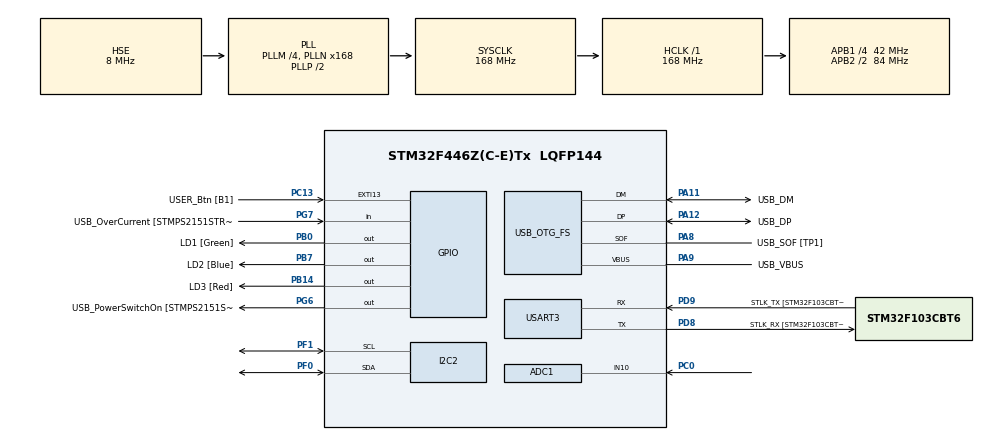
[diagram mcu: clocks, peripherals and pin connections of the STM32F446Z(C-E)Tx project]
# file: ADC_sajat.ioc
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ADC1.Channel-1\#ChannelRegularConversion=ADC_CHANNEL_10
ADC1.NbrOfConversionFlag=1
ADC1.Rank-1\#ChannelRegularConversion=1
ADC1.SamplingTime-1\#ChannelRegularConversion=ADC_SAMPLETIME_3CYCLES
ADC1.master=1
Mcu.Family=STM32F4
Mcu.Name=STM32F446Z(C-E)Tx
Mcu.Package=LQFP144
NVIC.ADC_IRQn=true\:0\:0\:false\:false\:true\:true\:true\:true
NVIC.PriorityGroup=NVIC_PRIORITYGROUP_4
PA10.GPIO_Label=USB_ID
PA10.Signal=USB_OTG_FS_ID
PA11.GPIO_Label=USB_DM
PA11.Mode=Device_Only
PA11.Signal=USB_OTG_FS_DM
PA12.GPIO_Label=USB_DP
PA12.Mode=Device_Only
PA12.Signal=USB_OTG_FS_DP
PA13.GPIO_Label=TMS
PA13.Mode=Serial_Wire
PA13.Signal=SYS_JTMS-SWDIO
PA14.GPIO_Label=TCK
PA14.Mode=Serial_Wire
PA14.Signal=SYS_JTCK-SWCLK
PA8.GPIO_Label=USB_SOF [TP1]
PA8.Mode=Activate_SOF_FS
PA8.Signal=USB_OTG_FS_SOF
PA9.GPIO_Label=USB_VBUS
PA9.Mode=Activate_VBUS
PA9.Signal=USB_OTG_FS_VBUS
PB0.GPIO_Label=LD1 [Green]
PB0.Signal=GPIO_Output
PB14.GPIO_Label=LD3 [Red]
PB14.Signal=GPIO_Output
PB7.GPIO_Label=LD2 [Blue]
PB7.Signal=GPIO_Output
PC0.Signal=ADCx_IN10
PC13.GPIO_Label=USER_Btn [B1]
PC13.Signal=GPXTI13
PC14-OSC32_IN.Mode=LSE-External-Oscillator
PC14-OSC32_IN.Signal=RCC_OSC32_IN
PC15-OSC32_OUT.Mode=LSE-External-Oscillator
PC15-OSC32_OUT.Signal=RCC_OSC32_OUT
PD8.GPIO_Label=STLK_RX [STM32F103CBT6_PA3]
PD8.Mode=Asynchronous
PD8.Signal=USART3_TX
PD9.GPIO_Label=STLK_TX [STM32F103CBT6_PA2]
PD9.Mode=Asynchronous
PD9.Signal=USART3_RX
PF0.Mode=I2C
PF0.Signal=I2C2_SDA
PF1.Mode=I2C
PF1.Signal=I2C2_SCL
PG6.GPIO_Label=USB_PowerSwitchOn [STMPS2151STR_EN]
PG6.Signal=GPIO_Output
PG7.GPIO_Label=USB_OverCurrent [STMPS2151STR_FAULT]
PG7.Signal=GPIO_Input
PH0-OSC_IN.GPIO_Label=MCO [STM32F103CBT6_PA8]
PH0-OSC_IN.Mode=HSE-External-Clock-Source
PH0-OSC_IN.Signal=RCC_OSC_IN
PH1-OSC_OUT.Mode=HSE-External-Clock-Source
PH1-OSC_OUT.Signal=RCC_OSC_OUT
ProjectManager.HeapSize=0x200
ProjectManager.StackSize=0x400
ProjectManager.TargetToolchain=STM32CubeIDE
RCC.48MHZClocksFreq_Value=24000000
RCC.AHBFreq_Value=168000000
RCC.APB1CLKDivider=RCC_HCLK_DIV4
RCC.APB1Freq_Value=42000000
RCC.APB1TimFreq_Value=84000000
RCC.APB2CLKDivider=RCC_HCLK_DIV2
RCC.APB2Freq_Value=84000000
RCC.APB2TimFreq_Value=168000000
RCC.CortexFreq_Value=168000000
RCC.HCLKFreq_Value=168000000
RCC.HSE_VALUE=8000000
RCC.HSI_VALUE=16000000
RCC.PLLM=4
RCC.PLLMUL=RCC_PLL_MUL9
RCC.PLLN=168
RCC.PLLQ=7
RCC.PRESCALERUSB=RCC_USBCLKSOURCE_PLL_DIV1_5
RCC.SYSCLKFreq_VALUE=168000000
RCC.SYSCLKSource=RCC_SYSCLKSOURCE_PLLCLK
RCC.SYSCLKSourceVirtual=RCC_SYSCLKSOURCE_PLLCLK
RCC.USBFreq_Value=48000000
RCC.VCOOutputFreq_Value=336000000
SH.ADCx_IN10.0=ADC1_IN10,IN10
USART3.VirtualMode=VM_ASYNC
USB_OTG_FS.VirtualMode=Device_Only
board=NUCLEO-F446ZE

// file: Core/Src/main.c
/* USER CODE BEGIN Header */
/**
  ******************************************************************************
  * @file           : main.c
  * @brief          : Main program body
  ******************************************************************************
  * @attention
  *
  * Copyright (c) 2026 STMicroelectronics.
  * All rights reserved.
  *
  * This software is licensed under terms that can be found in the LICENSE file
  * in the root directory of this software component.
  * If no LICENSE file comes with this software, it is provided AS-IS.
  *
  ******************************************************************************
  */
/* USER CODE END Header */
#include "main.h"

/* USER CODE BEGIN Includes */
#include "OLED.h"
#include <stdio.h>
/* USER CODE END Includes */

/* USER CODE BEGIN PD */
#define ADC_VREF_MV   3300U   /* referenciafeszultseg mV-ban */
#define ADC_MAX_VALUE 1023U   /* 12 bites felbontas */
/* USER CODE END PD */

ADC_HandleTypeDef hadc1;

I2C_HandleTypeDef hi2c2;

UART_HandleTypeDef huart3;

PCD_HandleTypeDef hpcd_USB_OTG_FS;

/* USER CODE BEGIN PV */
/* Az ADC konverzio eredmenye - volatile, mert a megszakitasban irodik */
volatile uint32_t adc = 0;
/* USER CODE END PV */

void SystemClock_Config(void);
static void MX_GPIO_Init(void);
static void MX_ADC1_Init(void);
static void MX_I2C2_Init(void);
static void MX_USART3_UART_Init(void);
static void MX_USB_OTG_FS_PCD_Init(void);

int main(void)
{

  /* USER CODE BEGIN 1 */
  char adc_char[16];
  uint32_t adc_raw;
  uint32_t adc_mv;
  /* USER CODE END 1 */

  /* MCU Configuration--------------------------------------------------------*/

  /* Reset of all peripherals, Initializes the Flash interface and the Systick. */
  HAL_Init();

  /* Configure the system clock */
  SystemClock_Config();

  /* Initialize all configured peripherals */
  MX_GPIO_Init();
  MX_ADC1_Init();
  MX_I2C2_Init();
  MX_USART3_UART_Init();
  MX_USB_OTG_FS_PCD_Init();
  /* USER CODE BEGIN 2 */

  OLED_Init();

  /* USER CODE END 2 */

  /* Infinite loop */
  while (1)
  {

    /* USER CODE BEGIN 3 */
    /* Konverzio inditasa megszakitassal */
    HAL_ADC_Start_IT(&hadc1);

    /* Pillanatkep az erteknrol, hogy kiiras kozben ne valtozzon */
    adc_raw = adc;
    adc_mv  = (adc_raw * ADC_VREF_MV) / ADC_MAX_VALUE;

    /* Kijelzo kezelese */
    OLED_Fill(Black);

    OLED_SetCursor(2, 0);
    OLED_WriteString("ADC value", Font_11x18, White);

    sprintf(adc_char, "%lu", (unsigned long)adc_raw);
    OLED_SetCursor(2, 18);
    OLED_WriteString(adc_char, Font_11x18, White);

    sprintf(adc_char, "%lumV", (unsigned long)adc_mv);
    OLED_SetCursor(2, 18 + 18);
    OLED_WriteString(adc_char, Font_11x18, White);

    OLED_UpdateScreen();

    HAL_Delay(200);
  }
  /* USER CODE END 3 */
}

void SystemClock_Config(void)
{
  RCC_OscInitTypeDef RCC_OscInitStruct = {0};
  RCC_ClkInitTypeDef RCC_ClkInitStruct = {0};

  /** Configure the main internal regulator output voltage
  */
  __HAL_RCC_PWR_CLK_ENABLE();
  __HAL_PWR_VOLTAGESCALING_CONFIG(PWR_REGULATOR_VOLTAGE_SCALE1);

  /** Initializes the RCC Oscillators according to the specified parameters
  * in the RCC_OscInitTypeDef structure.
  */
  RCC_OscInitStruct.OscillatorType = RCC_OSCILLATORTYPE_HSE;
  RCC_OscInitStruct.HSEState = RCC_HSE_BYPASS;
  RCC_OscInitStruct.PLL.PLLState = RCC_PLL_ON;
  RCC_OscInitStruct.PLL.PLLSource = RCC_PLLSOURCE_HSE;
  RCC_OscInitStruct.PLL.PLLM = 4;
  RCC_OscInitStruct.PLL.PLLN = 168;
  RCC_OscInitStruct.PLL.PLLP = RCC_PLLP_DIV2;
  RCC_OscInitStruct.PLL.PLLQ = 7;
  RCC_OscInitStruct.PLL.PLLR = 2;
  if (HAL_RCC_OscConfig(&RCC_OscInitStruct) != HAL_OK)
  {
    Error_Handler();
  }

  /** Initializes the CPU, AHB and APB buses clocks
  */
  RCC_ClkInitStruct.ClockType = RCC_CLOCKTYPE_HCLK|RCC_CLOCKTYPE_SYSCLK
                              |RCC_CLOCKTYPE_PCLK1|RCC_CLOCKTYPE_PCLK2;
  RCC_ClkInitStruct.SYSCLKSource = RCC_SYSCLKSOURCE_PLLCLK;
  RCC_ClkInitStruct.AHBCLKDivider = RCC_SYSCLK_DIV1;
  RCC_ClkInitStruct.APB1CLKDivider = RCC_HCLK_DIV4;
  RCC_ClkInitStruct.APB2CLKDivider = RCC_HCLK_DIV2;

  if (HAL_RCC_ClockConfig(&RCC_ClkInitStruct, FLASH_LATENCY_5) != HAL_OK)
  {
    Error_Handler();
  }
}

static void MX_ADC1_Init(void)
{

  ADC_ChannelConfTypeDef sConfig = {0};

  /** Configure the global features of the ADC (Clock, Resolution, Data Alignment and number of conversion)
  */
  hadc1.Instance = ADC1;
  hadc1.Init.ClockPrescaler = ADC_CLOCK_SYNC_PCLK_DIV4;
  hadc1.Init.Resolution = ADC_RESOLUTION_12B;
  hadc1.Init.ScanConvMode = DISABLE;
  hadc1.Init.ContinuousConvMode = DISABLE;
  hadc1.Init.DiscontinuousConvMode = DISABLE;
  hadc1.Init.ExternalTrigConvEdge = ADC_EXTERNALTRIGCONVEDGE_NONE;
  hadc1.Init.ExternalTrigConv = ADC_SOFTWARE_START;
  hadc1.Init.DataAlign = ADC_DATAALIGN_RIGHT;
  hadc1.Init.NbrOfConversion = 1;
  hadc1.Init.DMAContinuousRequests = DISABLE;
  hadc1.Init.EOCSelection = ADC_EOC_SINGLE_CONV;
  if (HAL_ADC_Init(&hadc1) != HAL_OK)
  {
    Error_Handler();
  }

  /** Configure for the selected ADC regular channel its corresponding rank in the sequencer and its sample time.
  */
  sConfig.Channel = ADC_CHANNEL_10;
  sConfig.Rank = 1;
  sConfig.SamplingTime = ADC_SAMPLETIME_3CYCLES;
  if (HAL_ADC_ConfigChannel(&hadc1, &sConfig) != HAL_OK)
  {
    Error_Handler();
  }

}

static void MX_I2C2_Init(void)
{

  hi2c2.Instance = I2C2;
  hi2c2.Init.ClockSpeed = 100000;
  hi2c2.Init.DutyCycle = I2C_DUTYCYCLE_2;
  hi2c2.Init.OwnAddress1 = 0;
  hi2c2.Init.AddressingMode = I2C_ADDRESSINGMODE_7BIT;
  hi2c2.Init.DualAddressMode = I2C_DUALADDRESS_DISABLE;
  hi2c2.Init.OwnAddress2 = 0;
  hi2c2.Init.GeneralCallMode = I2C_GENERALCALL_DISABLE;
  hi2c2.Init.NoStretchMode = I2C_NOSTRETCH_DISABLE;
  if (HAL_I2C_Init(&hi2c2) != HAL_OK)
  {
    Error_Handler();
  }

}

static void MX_USART3_UART_Init(void)
{

  huart3.Instance = USART3;
  huart3.Init.BaudRate = 115200;
  huart3.Init.WordLength = UART_WORDLENGTH_8B;
  huart3.Init.StopBits = UART_STOPBITS_1;
  huart3.Init.Parity = UART_PARITY_NONE;
  huart3.Init.Mode = UART_MODE_TX_RX;
  huart3.Init.HwFlowCtl = UART_HWCONTROL_NONE;
  huart3.Init.OverSampling = UART_OVERSAMPLING_16;
  if (HAL_UART_Init(&huart3) != HAL_OK)
  {
    Error_Handler();
  }

}

static void MX_USB_OTG_FS_PCD_Init(void)
{

  hpcd_USB_OTG_FS.Instance = USB_OTG_FS;
  hpcd_USB_OTG_FS.Init.dev_endpoints = 6;
  hpcd_USB_OTG_FS.Init.speed = PCD_SPEED_FULL;
  hpcd_USB_OTG_FS.Init.dma_enable = DISABLE;
  hpcd_USB_OTG_FS.Init.phy_itface = PCD_PHY_EMBEDDED;
  hpcd_USB_OTG_FS.Init.Sof_enable = ENABLE;
  hpcd_USB_OTG_FS.Init.low_power_enable = DISABLE;
  hpcd_USB_OTG_FS.Init.lpm_enable = DISABLE;
  hpcd_USB_OTG_FS.Init.vbus_sensing_enable = ENABLE;
  hpcd_USB_OTG_FS.Init.use_dedicated_ep1 = DISABLE;
  if (HAL_PCD_Init(&hpcd_USB_OTG_FS) != HAL_OK)
  {
    Error_Handler();
  }

}

static void MX_GPIO_Init(void)
{
  GPIO_InitTypeDef GPIO_InitStruct = {0};

  /* GPIO Ports Clock Enable */
  __HAL_RCC_GPIOC_CLK_ENABLE();
  __HAL_RCC_GPIOF_CLK_ENABLE();
  __HAL_RCC_GPIOH_CLK_ENABLE();
  __HAL_RCC_GPIOB_CLK_ENABLE();
  __HAL_RCC_GPIOD_CLK_ENABLE();
  __HAL_RCC_GPIOG_CLK_ENABLE();
  __HAL_RCC_GPIOA_CLK_ENABLE();

  /*Configure GPIO pin Output Level */
  HAL_GPIO_WritePin(GPIOB, LD1_Pin|LD3_Pin|LD2_Pin, GPIO_PIN_RESET);

  /*Configure GPIO pin Output Level */
  HAL_GPIO_WritePin(USB_PowerSwitchOn_GPIO_Port, USB_PowerSwitchOn_Pin, GPIO_PIN_RESET);

  /*Configure GPIO pin : USER_Btn_Pin */
  GPIO_InitStruct.Pin = USER_Btn_Pin;
  GPIO_InitStruct.Mode = GPIO_MODE_IT_RISING;
  GPIO_InitStruct.Pull = GPIO_NOPULL;
  HAL_GPIO_Init(USER_Btn_GPIO_Port, &GPIO_InitStruct);

  /*Configure GPIO pins : LD1_Pin LD3_Pin LD2_Pin */
  GPIO_InitStruct.Pin = LD1_Pin|LD3_Pin|LD2_Pin;
  GPIO_InitStruct.Mode = GPIO_MODE_OUTPUT_PP;
  GPIO_InitStruct.Pull = GPIO_NOPULL;
  GPIO_InitStruct.Speed = GPIO_SPEED_FREQ_LOW;
  HAL_GPIO_Init(GPIOB, &GPIO_InitStruct);

  /*Configure GPIO pin : USB_PowerSwitchOn_Pin */
  GPIO_InitStruct.Pin = USB_PowerSwitchOn_Pin;
  GPIO_InitStruct.Mode = GPIO_MODE_OUTPUT_PP;
  GPIO_InitStruct.Pull = GPIO_NOPULL;
  GPIO_InitStruct.Speed = GPIO_SPEED_FREQ_LOW;
  HAL_GPIO_Init(USB_PowerSwitchOn_GPIO_Port, &GPIO_InitStruct);

  /*Configure GPIO pin : USB_OverCurrent_Pin */
  GPIO_InitStruct.Pin = USB_OverCurrent_Pin;
  GPIO_InitStruct.Mode = GPIO_MODE_INPUT;
  GPIO_InitStruct.Pull = GPIO_NOPULL;
  HAL_GPIO_Init(USB_OverCurrent_GPIO_Port, &GPIO_InitStruct);

}

/* USER CODE BEGIN 4 */
/* Konverzio vege callback - az ADC megszakitasbol hivodik */
void HAL_ADC_ConvCpltCallback(ADC_HandleTypeDef* hadc)
{
  if (hadc->Instance == ADC1)
  {
    adc = HAL_ADC_GetValue(hadc);
  }
}
/* USER CODE END 4 */

void Error_Handler(void)
{
  __disable_irq();
  while (1)
  {
  }
}
